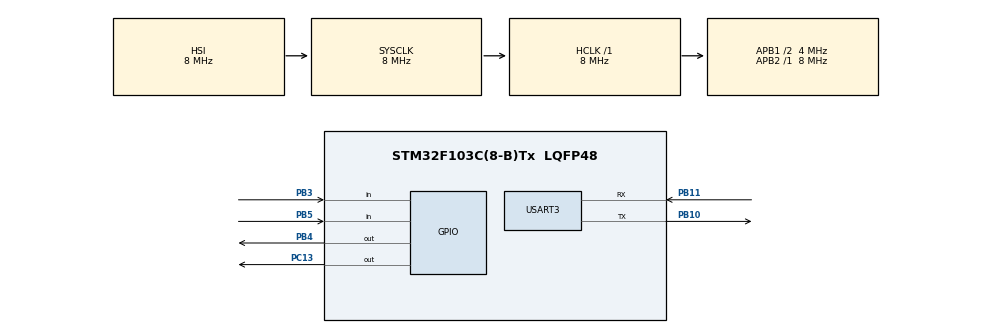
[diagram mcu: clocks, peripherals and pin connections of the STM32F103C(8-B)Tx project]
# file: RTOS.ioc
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FREERTOS.BinarySemaphores01=Temperature,Dynamic,NULL;pressure,Dynamic,NULL
FREERTOS.Queues01=Data_Queue,5,uint8_t,0,Dynamic,NULL,NULL
FREERTOS.Tasks01=defaultTask,33,128,Task_1,Default,NULL,Dynamic,NULL,NULL;myTask02,40,128,Task_2,Default,NULL,Dynamic,NULL,NULL
Mcu.Family=STM32F1
Mcu.Name=STM32F103C(8-B)Tx
Mcu.Package=LQFP48
NVIC.PriorityGroup=NVIC_PRIORITYGROUP_4
NVIC.TIM2_IRQn=true\:15\:0\:false\:false\:true\:false\:false\:true\:true
NVIC.TimeBase=TIM2_IRQn
NVIC.TimeBaseIP=TIM2
PB10.Mode=Asynchronous
PB10.Signal=USART3_TX
PB11.Mode=Asynchronous
PB11.Signal=USART3_RX
PB3.Signal=GPIO_Input
PB4.Signal=GPIO_Output
PB5.Signal=GPIO_Input
PC13-TAMPER-RTC.Signal=GPIO_Output
ProjectManager.HeapSize=0x200
ProjectManager.StackSize=0x400
ProjectManager.TargetToolchain=STM32CubeIDE
RCC.AHBFreq_Value=8000000
RCC.APB1CLKDivider=RCC_HCLK_DIV2
RCC.APB1Freq_Value=4000000
RCC.APB1TimFreq_Value=8000000
RCC.APB2Freq_Value=8000000
RCC.APB2TimFreq_Value=8000000
RCC.HCLKFreq_Value=8000000
RCC.SYSCLKFreq_VALUE=8000000
RCC.USBFreq_Value=8000000
USART3.VirtualMode=VM_ASYNC
VP_FREERTOS_VS_CMSIS_V2.Mode=CMSIS_V2
VP_SYS_VS_tim2.Mode=TIM2
board=custom

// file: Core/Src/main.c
/* USER CODE BEGIN Header */
/**
  ******************************************************************************
  * @file           : main.c
  * @brief          : Main program body
  ******************************************************************************
  * @attention
  *
  * Copyright (c) 2023 STMicroelectronics.
  * All rights reserved.
  *
  * This software is licensed under terms that can be found in the LICENSE file
  * in the root directory of this software component.
  * If no LICENSE file comes with this software, it is provided AS-IS.
  *
  ******************************************************************************
  */
/* USER CODE END Header */
#include "main.h"
#include "cmsis_os.h"
#include "usart.h"
#include "gpio.h"

/* USER CODE BEGIN Includes */
#include "GPIO_interface.h"
#include "RCC_interface.h"
#include "LCD_interface.h"
/* USER CODE END Includes */

void SystemClock_Config(void);
void MX_FREERTOS_Init(void);

int main(void)
{

  /* MCU Configuration--------------------------------------------------------*/

  /* Reset of all peripherals, Initializes the Flash interface and the Systick. */
  HAL_Init();

  /* USER CODE BEGIN Init */
	MRCC_voidInit();
	MRCC_voidPeripheralClockEnable(RCC_APB2,GPIO_A);
	LCD_Init();
	//LCD_Send_String("Without any IDEs");
  /* USER CODE END Init */

  /* Configure the system clock */
  SystemClock_Config();

  /* Initialize all configured peripherals */
  MX_GPIO_Init();
  MX_USART3_UART_Init();

  /* Init scheduler */
  osKernelInitialize();  /* Call init function for freertos objects (in freertos.c) */
  MX_FREERTOS_Init();

  /* Start scheduler */
  osKernelStart();
  /* We should never get here as control is now taken by the scheduler */
  /* Infinite loop */
  while (1)
  {

  }
}

void SystemClock_Config(void)
{
  RCC_OscInitTypeDef RCC_OscInitStruct = {0};
  RCC_ClkInitTypeDef RCC_ClkInitStruct = {0};

  /** Initializes the RCC Oscillators according to the specified parameters
  * in the RCC_OscInitTypeDef structure.
  */
  RCC_OscInitStruct.OscillatorType = RCC_OSCILLATORTYPE_HSI;
  RCC_OscInitStruct.HSIState = RCC_HSI_ON;
  RCC_OscInitStruct.HSICalibrationValue = RCC_HSICALIBRATION_DEFAULT;
  RCC_OscInitStruct.PLL.PLLState = RCC_PLL_NONE;
  if (HAL_RCC_OscConfig(&RCC_OscInitStruct) != HAL_OK)
  {
    Error_Handler();
  }

  /** Initializes the CPU, AHB and APB buses clocks
  */
  RCC_ClkInitStruct.ClockType = RCC_CLOCKTYPE_HCLK|RCC_CLOCKTYPE_SYSCLK
                              |RCC_CLOCKTYPE_PCLK1|RCC_CLOCKTYPE_PCLK2;
  RCC_ClkInitStruct.SYSCLKSource = RCC_SYSCLKSOURCE_HSI;
  RCC_ClkInitStruct.AHBCLKDivider = RCC_SYSCLK_DIV1;
  RCC_ClkInitStruct.APB1CLKDivider = RCC_HCLK_DIV2;
  RCC_ClkInitStruct.APB2CLKDivider = RCC_HCLK_DIV1;

  if (HAL_RCC_ClockConfig(&RCC_ClkInitStruct, FLASH_LATENCY_0) != HAL_OK)
  {
    Error_Handler();
  }
}

void HAL_TIM_PeriodElapsedCallback(TIM_HandleTypeDef *htim)
{
  if (htim->Instance == TIM2) {
    HAL_IncTick();
  }
}

void Error_Handler(void)
{
  __disable_irq();
  while (1)
  {
  }
}

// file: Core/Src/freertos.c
/* USER CODE BEGIN Header */
/**
  ******************************************************************************
  * File Name          : freertos.c
  * Description        : Code for freertos applications
  ******************************************************************************
  * @attention
  *
  * Copyright (c) 2023 STMicroelectronics.
  * All rights reserved.
  *
  * This software is licensed under terms that can be found in the LICENSE file
  * in the root directory of this software component.
  * If no LICENSE file comes with this software, it is provided AS-IS.
  *
  ******************************************************************************
  */
/* USER CODE END Header */

#include "FreeRTOS.h"
#include "task.h"
#include "main.h"
#include "cmsis_os.h"

/* USER CODE BEGIN Includes */
#include "LCD_interface.h"
#include "queue.h"

/* USER CODE END Includes */

/* USER CODE BEGIN PTD */
typedef struct{
	uint32_t ID;
	uint8_t name[20];
}student_t;

/* USER CODE END PTD */

/* USER CODE BEGIN PD */

#define FRAME_ONE         0x00
#define FRAME_TWO         0x01
#define FRAME_THREE       0x02
#define FRAME_FOUR        0x03
#define FRAME_FIVE        0x04

/* USER CODE END PD */

/* USER CODE BEGIN Variables */
const uint8_t *FrameBufferFirstScreen[5][2]={

		{"Status1          ","Temperature   "},
		{"Status2          ","Pressure      "},
		{"Status3          ","option....    "},
		{"Status4          ","option....    "}
};

const uint8_t *FrameBufferScoundScreen[5][2]={

		{"Mode Temperature ","Temperature ="},
		{"Mode Pressure    ","Pressure =   "},
		{"Mode3           ","Value = ...   "},
		{"Mode4           ","Value = ...   "}
};

uint8_t CurrentFram=0;
/* USER CODE END Variables */
/* Definitions for defaultTask */
osThreadId_t defaultTaskHandle;
const osThreadAttr_t defaultTask_attributes = {
  .name = "defaultTask",
  .stack_size = 128 * 4,
  .priority = (osPriority_t) osPriorityHigh,
};
/* Definitions for myTask02 */
osThreadId_t myTask02Handle;
const osThreadAttr_t myTask02_attributes = {
  .name = "myTask02",
  .stack_size = 128 * 4,
  .priority = (osPriority_t) osPriorityAboveNormal1,
};
/* Definitions for Data_Queue */
osMessageQueueId_t Data_QueueHandle;
const osMessageQueueAttr_t Data_Queue_attributes = {
  .name = "Data_Queue"
};
/* Definitions for Temperature */
osSemaphoreId_t TemperatureHandle;
const osSemaphoreAttr_t Temperature_attributes = {
  .name = "Temperature"
};
/* Definitions for pressure */
osSemaphoreId_t pressureHandle;
const osSemaphoreAttr_t pressure_attributes = {
  .name = "pressure"
};

/* USER CODE BEGIN FunctionPrototypes */
void Fram_FristScreen(u8 fram);
void Fram_ScoundScreen(uint8_t fram);
/* USER CODE END FunctionPrototypes */

void Task_1(void *argument);
void Task_2(void *argument);

void MX_FREERTOS_Init(void); /* (MISRA C 2004 rule 8.1) */

void MX_FREERTOS_Init(void) {

  /* Create the semaphores(s) */
  /* creation of Temperature */
  TemperatureHandle = osSemaphoreNew(1, 1, &Temperature_attributes);

  /* creation of pressure */
  pressureHandle = osSemaphoreNew(1, 1, &pressure_attributes);

  /* Create the queue(s) */
  /* creation of Data_Queue */
  Data_QueueHandle = osMessageQueueNew (5, sizeof(uint8_t), &Data_Queue_attributes);

  /* Create the thread(s) */
  /* creation of defaultTask */
  defaultTaskHandle = osThreadNew(Task_1, NULL, &defaultTask_attributes);

  /* creation of myTask02 */
  myTask02Handle = osThreadNew(Task_2, NULL, &myTask02_attributes);

}

/*Task one : control the menu and send message Queue */
void Task_1(void *argument)
{
  /* USER CODE BEGIN Task_1 */
	BaseType_t RetVal=pdTRUE; //has the status of sending message
	uint8_t state_ButtonIncrement=0; //has the status of the increment Button
	uint8_t state_ButtonDecrement=0; //has the status of the decrement Button
	uint8_t Choise=0;								 //has the status if context to secound task or no
  /* Infinite loop */
  for(;;)
  {

  	/*print the crrent ram in the lcd*/
	  Fram_FristScreen(CurrentFram);
	  /*read the status of push button pins*/
	  Choise = MGPIO_u8GetPinValue(PORTB,PIN5);
	  state_ButtonIncrement = MGPIO_u8GetPinValue(PORTB,PIN3);
	  state_ButtonDecrement = MGPIO_u8GetPinValue(PORTB,PIN4);

		if(state_ButtonIncrement == 1)
		{
			MGPIO_voidSetPinValue(PORTC,PIN13, GPIO_HIGH);

			if(CurrentFram == 4){
				CurrentFram = FRAME_ONE;
			}
			else
			{
				CurrentFram++;
			}
		}
		else{
			MGPIO_voidSetPinValue(PORTC,PIN13, GPIO_LOW);
		}
		if(state_ButtonDecrement == 1)
		{
			if(CurrentFram == FRAME_ONE)
			{
				CurrentFram =FRAME_FOUR;
			}
			else{
				CurrentFram-- ;
			}
		}
		if(Choise == 1)
		{
			RetVal = xQueueSendToFront(Data_QueueHandle,(void *)&CurrentFram,1000);
			vTaskPrioritySet( myTask02Handle,osPriorityHigh);

		}
		HAL_Delay(10);
  }
  /* USER CODE END Task_1 */
}

void Task_2(void *argument)
{
  /* USER CODE BEGIN Task_2 */
	BaseType_t RetVal=pdTRUE;
	uint8_t message=0;
	uint8_t Choise=0;
  /* Infinite loop */

  for(;;)
  {
	  HAL_Delay(100);
	  Choise = MGPIO_u8GetPinValue(PORTB,PIN5);
	  RetVal= xQueueReceive(Data_QueueHandle, &message, 0);

	  if(pdTRUE == RetVal)
	  {
		  switch(message)
		  {
		  	  case 0:
		  		  Fram_ScoundScreen(FRAME_ONE);
		  		  break;
		  	  case 1:
		  		  Fram_ScoundScreen(FRAME_TWO);
		  		  break;
		  	  case 2:
		  		  Fram_ScoundScreen(FRAME_THREE);
		  		  break;
		  	  case 3:
		  		  Fram_ScoundScreen(FRAME_FOUR);
		  		  break;
		  }
	  }
	  else{

	  }
	  RetVal = xQueueSendToFront(Data_QueueHandle,(void *)&message,1000);

	  if(Choise == 1)
	  {
		  vTaskPrioritySet(defaultTaskHandle,osPriorityHigh);
		  vTaskPrioritySet( myTask02Handle,osPriorityAboveNormal1);
	  }

  }

  /* USER CODE END Task_2 */
}

/* USER CODE BEGIN Application */
void Fram_FristScreen(uint8_t fram)
{

	LCD_Send_String_Pos(FrameBufferFirstScreen[fram][0],1,1);

	LCD_Send_String_Pos(FrameBufferFirstScreen[fram][1],2,1);

}

void Fram_ScoundScreen(uint8_t fram){
	LCD_Send_String_Pos(FrameBufferScoundScreen[fram][0],1,1);
	LCD_Send_String_Pos(FrameBufferScoundScreen[fram][1],2,1);

}

/* USER CODE END Application */
